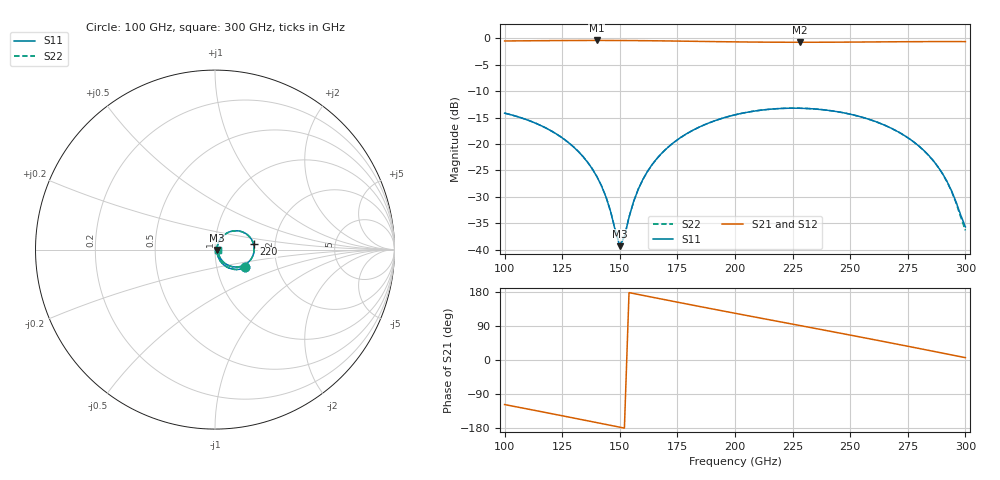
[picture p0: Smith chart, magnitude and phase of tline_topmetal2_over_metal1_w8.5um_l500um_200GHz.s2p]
#  GHZ S DB R 50
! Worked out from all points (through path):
!   101 points, 100 GHz to 300 GHz, reference 50 ohm
!   highest |S21| = -0.38 dB at 140 GHz (marker M1); lowest = -0.7 dB at 228 GHz (marker M2)
!   group delay of S21, straight-line fit = 3.27 ps
!   lowest |S11| = -39.4 dB at 150 GHz (marker M3), VSWR 1.02, Z = 51.1 - j0.167 ohm
!   |S11| at or under -10 dB: start of sweep to end of sweep
!   |S22| runs from -39.2 to -13.2 dB; largest |S21 - S12| = 1.1e-14
!   S11 on the Smith chart (normalised r, x): 100 GHz: 1.37, -0.28; 220 GHz: 1.54, +0.10; 300 GHz: 1.03, -0.01
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100  -14.16 -30.3  -0.48 -117.6  -0.48 -117.6  -14.16 -30.4
120  -17.47 -51.4  -0.42 -141.2  -0.42 -141.2  -17.46 -51.4
134  -22.37 -64.0  -0.39 -158.0  -0.39 -158.0  -22.36 -64.0
140  -26.14 -66.5  -0.38 -165.2  -0.38 -165.2  -26.12 -66.5
144  -30.04 -63.9  -0.39 -170.1  -0.39 -170.1  -30.01 -63.7
150  -39.37 -8.7  -0.39 -177.3  -0.39 -177.3  -39.24 -9.1
152  -37.58 33.5  -0.40 -179.7  -0.40 -179.7  -37.52 32.7
154  -33.89 53.0  -0.40 177.8  -0.40 177.8  -33.88 52.4
158  -28.58 63.6  -0.42 173.0  -0.42 173.0  -28.59 63.2
162  -25.21 64.4  -0.43 168.2  -0.43 168.2  -25.22 64.1
168  -21.84 61.2  -0.46 161.0  -0.46 161.0  -21.85 61.0
182  -17.34 48.4  -0.54 144.3  -0.54 144.3  -17.34 48.2
200  -14.47 29.6  -0.65 123.3  -0.65 123.3  -14.48 29.4
220  -13.27 7.9  -0.72 100.3  -0.72 100.3  -13.27 7.7
228  -13.23 -0.7  -0.73 91.2  -0.73 91.2  -13.23 -1.0
234  -13.35 -7.2  -0.72 84.3  -0.72 84.3  -13.35 -7.5
250  -14.36 -24.4  -0.69 65.7  -0.69 65.7  -14.36 -24.8
268  -17.06 -43.0  -0.64 44.6  -0.64 44.6  -17.06 -43.6
280  -20.46 -53.7  -0.61 30.3  -0.61 30.3  -20.48 -54.5
288  -24.25 -57.7  -0.60 20.7  -0.60 20.7  -24.29 -58.9
294  -28.88 -53.8  -0.60 13.4  -0.60 13.4  -29.00 -55.7
300  -35.71 -14.6  -0.61 6.2  -0.61 6.2  -36.38 -16.2
